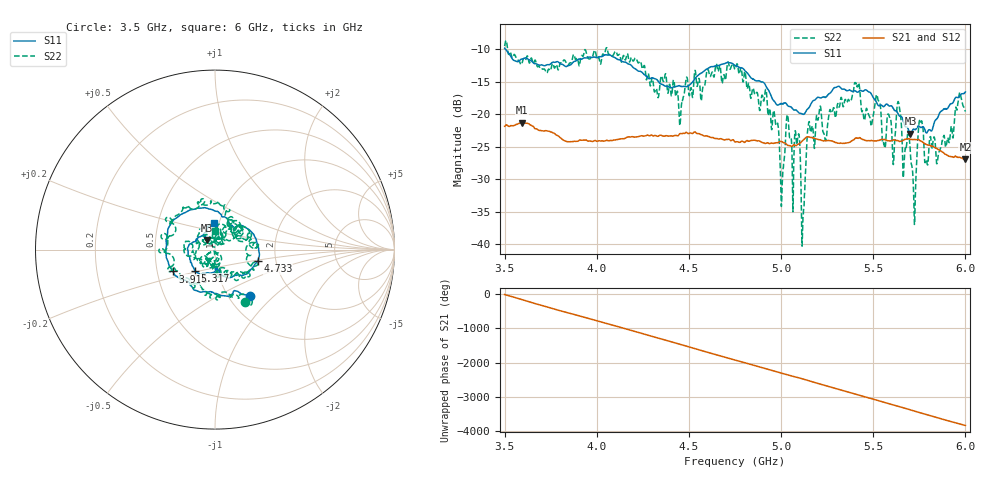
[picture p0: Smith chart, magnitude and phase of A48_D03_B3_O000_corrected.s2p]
! Created with skrf 1.9.0 (http://scikit-rf.org).
# Hz S RI R 50.0
!freq ReS11 ImS11 ReS21 ImS21 ReS12 ImS12 ReS22 ImS22
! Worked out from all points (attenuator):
!   1601 points, 3.5 GHz to 6 GHz, reference 50 ohm
!   highest |S21| = -21.32 dB at 3.592 GHz (marker M1); lowest = -27.0 dB at 6 GHz (marker M2)
!   lowest |S11| = -23.0 dB at 5.702 GHz (marker M3), VSWR 1.15, Z = 45.3 + j4.85 ohm
!   |S11| at or under -10 dB: 3.504 GHz to end of sweep
!   |S22| runs from -40.3 to -8.7 dB; largest |S21 - S12| = 0.00094
!   S11 on the Smith chart (normalised r, x): 3.5 GHz: 1.25, -0.71; 3.916 GHz: 0.60, -0.16; 4.733 GHz: 1.61, -0.22; 5.317 GHz: 0.78, -0.19; 6 GHz: 0.95, +0.29
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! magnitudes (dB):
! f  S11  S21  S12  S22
! 3.5 GHz  -9.9  -21.9  -21.8  -9.5
! 3.592 GHz  -11.5  -21.3  -21.3  -12.3
! 3.916 GHz  -11.6  -24.0  -24.0  -11.1
! 3.917 GHz  -11.6  -24.0  -24.0  -11.0
! 4.334 GHz  -15.0  -23.4  -23.3  -17.4
! 4.455 GHz  -15.7  -23.0  -22.9  -20.7
! 4.733 GHz  -12.2  -24.0  -24.0  -12.4
! 4.75 GHz  -12.5  -24.3  -24.2  -13.1
! 4.97 GHz  -18.3  -24.4  -24.4  -21.5
! 5.005 GHz  -18.4  -24.2  -24.2  -31.9
! 5.034 GHz  -18.6  -24.8  -24.7  -20.1
! 5.088 GHz  -19.5  -24.7  -24.7  -24.4
! 5.119 GHz  -20.0  -24.0  -24.0  -36.0
! 5.145 GHz  -19.2  -23.5  -23.4  -22.1
! 5.167 GHz  -18.1  -23.6  -23.6  -22.0
! 5.317 GHz  -15.8  -24.5  -24.4  -18.8
! 5.584 GHz  -18.7  -24.1  -24.1  -20.0
! 5.702 GHz  -23.0  -23.9  -23.9  -26.0
! 5.722 GHz  -22.3  -23.9  -23.8  -35.2
! 5.756 GHz  -22.0  -24.1  -24.0  -21.4
! 5.789 GHz  -22.9  -24.7  -24.6  -27.1
! 6 GHz  -16.6  -27.0  -26.9  -19.6
